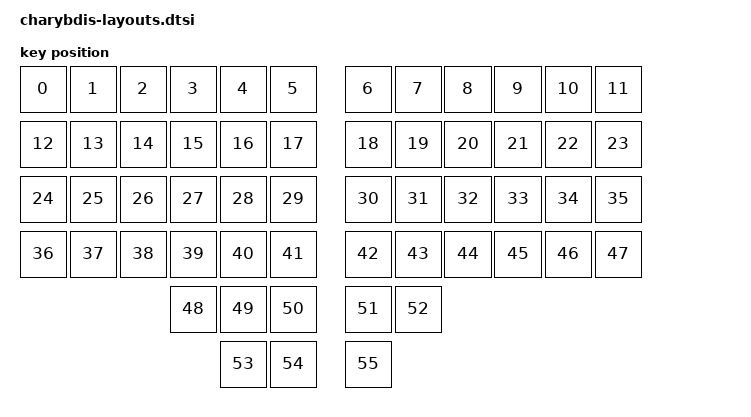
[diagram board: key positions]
// Charybdis Physical Layouts for ZMK Studio support
// Matrix: 5 rows × 12 columns, but only 56 keys physically present
// Layout: 4 rows × 12 keys + 3 left thumb + 2 right thumb + 3 bottom thumb = 56 keys

#include <physical_layouts.dtsi>

/ {
    charybdis_layout: charybdis_layout {
        compatible = "zmk,physical-layout";
        display-name = "Charybdis";
        
        keys
            // Row 0: ESC, 1-0, BACKSPACE (12 keys)
            = <&key_physical_attrs 100 100    0    0  0 0 0>  // 0: ESC
            , <&key_physical_attrs 100 100  100    0  0 0 0>  // 1: 1
            , <&key_physical_attrs 100 100  200    0  0 0 0>  // 2: 2
            , <&key_physical_attrs 100 100  300    0  0 0 0>  // 3: 3
            , <&key_physical_attrs 100 100  400    0  0 0 0>  // 4: 4
            , <&key_physical_attrs 100 100  500    0  0 0 0>  // 5: 5
            , <&key_physical_attrs 100 100  650    0  0 0 0>  // 6: 6
            , <&key_physical_attrs 100 100  750    0  0 0 0>  // 7: 7
            , <&key_physical_attrs 100 100  850    0  0 0 0>  // 8: 8
            , <&key_physical_attrs 100 100  950    0  0 0 0>  // 9: 9
            , <&key_physical_attrs 100 100 1050    0  0 0 0>  // 10: 0
            , <&key_physical_attrs 100 100 1150    0  0 0 0>  // 11: BACKSPACE
            
            // Row 1: TAB, Q-P, [ (12 keys)
            , <&key_physical_attrs 100 100    0  110  0 0 0>  // 12: TAB
            , <&key_physical_attrs 100 100  100  110  0 0 0>  // 13: Q
            , <&key_physical_attrs 100 100  200  110  0 0 0>  // 14: W
            , <&key_physical_attrs 100 100  300  110  0 0 0>  // 15: E
            , <&key_physical_attrs 100 100  400  110  0 0 0>  // 16: R
            , <&key_physical_attrs 100 100  500  110  0 0 0>  // 17: T
            , <&key_physical_attrs 100 100  650  110  0 0 0>  // 18: Y
            , <&key_physical_attrs 100 100  750  110  0 0 0>  // 19: U
            , <&key_physical_attrs 100 100  850  110  0 0 0>  // 20: I
            , <&key_physical_attrs 100 100  950  110  0 0 0>  // 21: O
            , <&key_physical_attrs 100 100 1050  110  0 0 0>  // 22: P
            , <&key_physical_attrs 100 100 1150  110  0 0 0>  // 23: [
            
            // Row 2: SHIFT, A-;, ] (12 keys)
            , <&key_physical_attrs 100 100    0  220  0 0 0>  // 24: SHIFT
            , <&key_physical_attrs 100 100  100  220  0 0 0>  // 25: A
            , <&key_physical_attrs 100 100  200  220  0 0 0>  // 26: S
            , <&key_physical_attrs 100 100  300  220  0 0 0>  // 27: D
            , <&key_physical_attrs 100 100  400  220  0 0 0>  // 28: F
            , <&key_physical_attrs 100 100  500  220  0 0 0>  // 29: G
            , <&key_physical_attrs 100 100  650  220  0 0 0>  // 30: H
            , <&key_physical_attrs 100 100  750  220  0 0 0>  // 31: J
            , <&key_physical_attrs 100 100  850  220  0 0 0>  // 32: K
            , <&key_physical_attrs 100 100  950  220  0 0 0>  // 33: L
            , <&key_physical_attrs 100 100 1050  220  0 0 0>  // 34: ;
            , <&key_physical_attrs 100 100 1150  220  0 0 0>  // 35: ]
            
            // Row 3: CTRL, Z-/, - (12 keys)
            , <&key_physical_attrs 100 100    0  330  0 0 0>  // 36: CTRL
            , <&key_physical_attrs 100 100  100  330  0 0 0>  // 37: Z
            , <&key_physical_attrs 100 100  200  330  0 0 0>  // 38: X
            , <&key_physical_attrs 100 100  300  330  0 0 0>  // 39: C
            , <&key_physical_attrs 100 100  400  330  0 0 0>  // 40: V
            , <&key_physical_attrs 100 100  500  330  0 0 0>  // 41: B
            , <&key_physical_attrs 100 100  650  330  0 0 0>  // 42: N
            , <&key_physical_attrs 100 100  750  330  0 0 0>  // 43: M
            , <&key_physical_attrs 100 100  850  330  0 0 0>  // 44: ,
            , <&key_physical_attrs 100 100  950  330  0 0 0>  // 45: .
            , <&key_physical_attrs 100 100 1050  330  0 0 0>  // 46: /
            , <&key_physical_attrs 100 100 1150  330  0 0 0>  // 47: -
            
            // Thumb cluster - left side (3 keys)
            , <&key_physical_attrs 100 100  300  440  0 0 0>  // 48: mo 1
            , <&key_physical_attrs 100 100  400  440  0 0 0>  // 49: LEFT
            , <&key_physical_attrs 100 100  500  440  0 0 0>  // 50: RIGHT
            
            // Thumb cluster - right side (2 keys)
            , <&key_physical_attrs 100 100  650  440  0 0 0>  // 51: DELETE
            , <&key_physical_attrs 100 100  750  440  0 0 0>  // 52: SPACE
            
            // Thumb cluster - bottom (3 keys around trackball)
            , <&key_physical_attrs 100 100  400  550  0 0 0>  // 53: LCLK
            , <&key_physical_attrs 100 100  500  550  0 0 0>  // 54: RCLK
            , <&key_physical_attrs 100 100  650  550  0 0 0>  // 55: ENTER
            ;
    };
};
